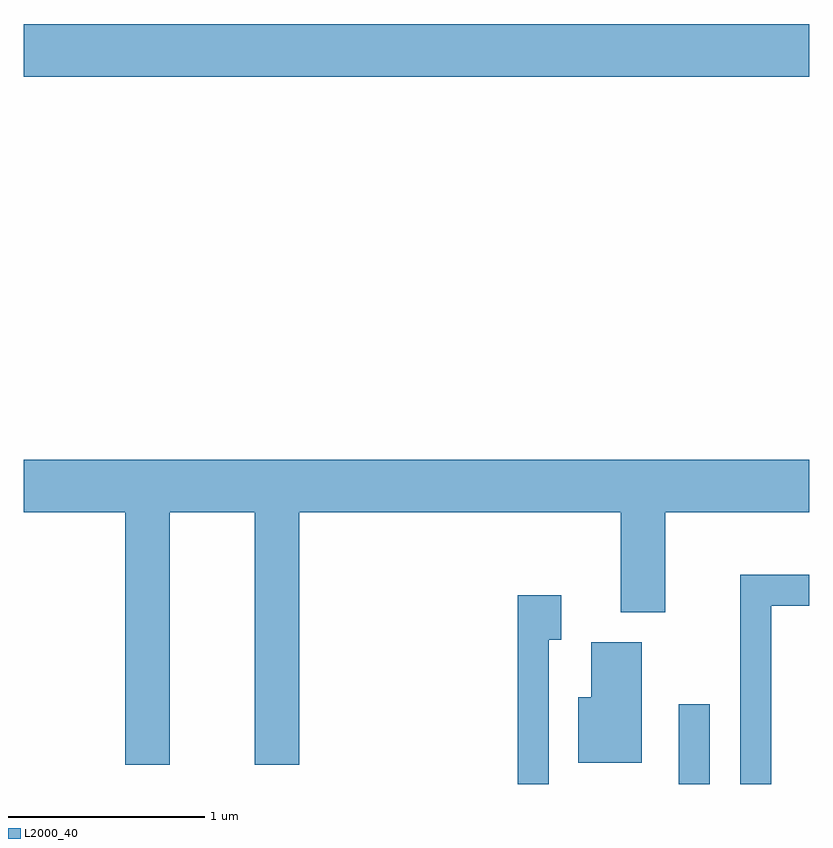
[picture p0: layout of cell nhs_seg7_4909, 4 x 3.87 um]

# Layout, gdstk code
import gdstk
lib = gdstk.Library(unit=1e-6, precision=1e-09)
def R(c, l, rs):  # rectangles x0, y0, x1, y1
    for r in rs: c.add(gdstk.rectangle(r[:2], r[2:], *l))
def P(c, l, *ps):  # polygons
    for p in ps: c.add(gdstk.Polygon(p, *l))
L2000_40 = (2000, 40)

nhs_seg7_4909 = lib.new_cell('nhs_seg7_4909')
R(nhs_seg7_4909, L2000_40, [(338.946,1726.252,339.104,1726.658), (335.611,1729.856,339.611,1730.124)])
P(nhs_seg7_4909, L2000_40, [(335.611,1727.636),(336.126,1727.636),(336.126,1726.351),(336.354,1726.351),(336.354,1727.636),(336.786,1727.636),(336.786,1726.351),(337.014,1726.351),(337.014,1727.636),(338.651,1727.636),(338.651,1727.126),(338.879,1727.126),(338.879,1727.636),(339.611,1727.636),(339.611,1727.904),(335.611,1727.904)],
  [(339.419,1727.161),(339.611,1727.161),(339.611,1727.319),(339.261,1727.319),(339.261,1726.252),(339.419,1726.252)],
  [(338.284,1726.986),(338.349,1726.986),(338.349,1727.214),(338.126,1727.214),(338.126,1726.252),(338.284,1726.252)],
  [(338.759,1726.974),(338.501,1726.974),(338.501,1726.694),(338.436,1726.694),(338.436,1726.361),(338.759,1726.361)])

lib.write_gds('nhs_seg7_4909.gds')
